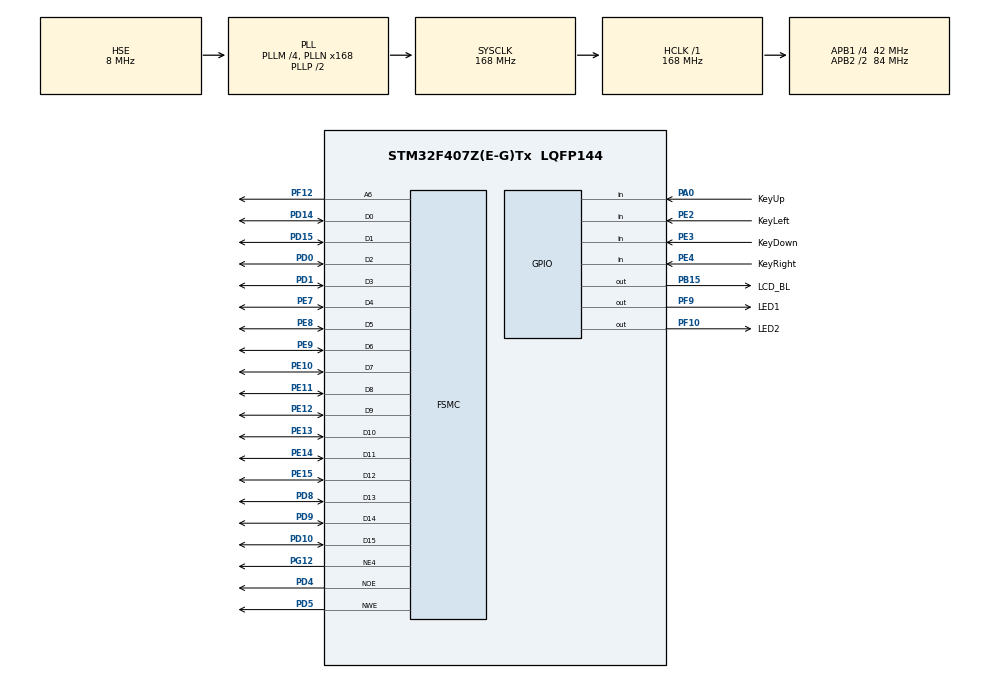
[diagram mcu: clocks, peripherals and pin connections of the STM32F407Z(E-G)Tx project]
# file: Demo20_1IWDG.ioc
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FSMC.AddressSetupTime4=2
FSMC.BusTurnAroundDuration4=0
FSMC.DataSetupTime4=16
FSMC.ExtendedAddressSetupTime4=4
FSMC.ExtendedBusTurnAroundDuration4=0
FSMC.ExtendedDataSetupTime4=9
FSMC.ExtendedMode4=FSMC_EXTENDED_MODE_ENABLE
IWDG.Prescaler=IWDG_PRESCALER_64
IWDG.Reload=4000-1
Mcu.Family=STM32F4
Mcu.Name=STM32F407Z(E-G)Tx
Mcu.Package=LQFP144
NVIC.PriorityGroup=NVIC_PRIORITYGROUP_4
NVIC.RTC_WKUP_IRQn=true\:1\:0\:true\:false\:true\:true\:true\:true
PA0-WKUP.GPIO_Label=KeyUp
PA0-WKUP.GPIO_PuPd=GPIO_PULLDOWN
PA0-WKUP.Signal=GPIO_Input
PA13.Mode=Serial_Wire
PA13.Signal=SYS_JTMS-SWDIO
PA14.Mode=Serial_Wire
PA14.Signal=SYS_JTCK-SWCLK
PB15.GPIO_Label=LCD_BL
PB15.PinState=GPIO_PIN_RESET
PB15.Signal=GPIO_Output
PC14-OSC32_IN.Mode=LSE-External-Oscillator
PC14-OSC32_IN.Signal=RCC_OSC32_IN
PC15-OSC32_OUT.Mode=LSE-External-Oscillator
PC15-OSC32_OUT.Signal=RCC_OSC32_OUT
PD0.Signal=FSMC_D2_DA2
PD1.Signal=FSMC_D3_DA3
PD10.Signal=FSMC_D15_DA15
PD14.Signal=FSMC_D0_DA0
PD15.Signal=FSMC_D1_DA1
PD4.Signal=FSMC_NOE
PD5.Signal=FSMC_NWE
PD8.Signal=FSMC_D13_DA13
PD9.Signal=FSMC_D14_DA14
PE10.Signal=FSMC_D7_DA7
PE11.Signal=FSMC_D8_DA8
PE12.Signal=FSMC_D9_DA9
PE13.Signal=FSMC_D10_DA10
PE14.Signal=FSMC_D11_DA11
PE15.Signal=FSMC_D12_DA12
PE2.GPIO_Label=KeyLeft
PE2.GPIO_PuPd=GPIO_PULLUP
PE2.Signal=GPIO_Input
PE3.GPIO_Label=KeyDown
PE3.GPIO_PuPd=GPIO_PULLUP
PE3.Signal=GPIO_Input
PE4.GPIO_Label=KeyRight
PE4.GPIO_PuPd=GPIO_PULLUP
PE4.Signal=GPIO_Input
PE7.Signal=FSMC_D4_DA4
PE8.Signal=FSMC_D5_DA5
PE9.Signal=FSMC_D6_DA6
PF10.GPIO_Label=LED2
PF10.PinState=GPIO_PIN_SET
PF10.Signal=GPIO_Output
PF12.Signal=FSMC_A6
PF9.GPIO_Label=LED1
PF9.PinState=GPIO_PIN_SET
PF9.Signal=GPIO_Output
PG12.Mode=NorPsramChipSelect4_4
PG12.Signal=FSMC_NE4
PH0-OSC_IN.Mode=HSE-External-Oscillator
PH0-OSC_IN.Signal=RCC_OSC_IN
PH1-OSC_OUT.Mode=HSE-External-Oscillator
PH1-OSC_OUT.Signal=RCC_OSC_OUT
ProjectManager.HeapSize=0x200
ProjectManager.StackSize=0x400
ProjectManager.TargetToolchain=STM32CubeIDE
RCC.48MHZClocksFreq_Value=84000000
RCC.AHBFreq_Value=168000000
RCC.APB1CLKDivider=RCC_HCLK_DIV4
RCC.APB1Freq_Value=42000000
RCC.APB1TimFreq_Value=84000000
RCC.APB2CLKDivider=RCC_HCLK_DIV2
RCC.APB2Freq_Value=84000000
RCC.APB2TimFreq_Value=168000000
RCC.CortexFreq_Value=168000000
RCC.FLatency=FLASH_LATENCY_5
RCC.HCLKFreq_Value=168000000
RCC.HSE_VALUE=8000000
RCC.HSI_VALUE=16000000
RCC.PLLM=4
RCC.PLLN=168
RCC.PLLSourceVirtual=RCC_PLLSOURCE_HSE
RCC.SYSCLKFreq_VALUE=168000000
RCC.SYSCLKSource=RCC_SYSCLKSOURCE_PLLCLK
RCC.VCOOutputFreq_Value=336000000
RTC.Format=RTC_FORMAT_BIN
RTC.WakeUpClock=RTC_WAKEUPCLOCK_CK_SPRE_16BITS
SH.FSMC_A6.0=FSMC_A6,A6_4
SH.FSMC_D0_DA0.0=FSMC_D0,16b-d4
SH.FSMC_D10_DA10.0=FSMC_D10,16b-d4
SH.FSMC_D11_DA11.0=FSMC_D11,16b-d4
SH.FSMC_D12_DA12.0=FSMC_D12,16b-d4
SH.FSMC_D13_DA13.0=FSMC_D13,16b-d4
SH.FSMC_D14_DA14.0=FSMC_D14,16b-d4
SH.FSMC_D15_DA15.0=FSMC_D15,16b-d4
SH.FSMC_D1_DA1.0=FSMC_D1,16b-d4
SH.FSMC_D2_DA2.0=FSMC_D2,16b-d4
SH.FSMC_D3_DA3.0=FSMC_D3,16b-d4
SH.FSMC_D4_DA4.0=FSMC_D4,16b-d4
SH.FSMC_D5_DA5.0=FSMC_D5,16b-d4
SH.FSMC_D6_DA6.0=FSMC_D6,16b-d4
SH.FSMC_D7_DA7.0=FSMC_D7,16b-d4
SH.FSMC_D8_DA8.0=FSMC_D8,16b-d4
SH.FSMC_D9_DA9.0=FSMC_D9,16b-d4
SH.FSMC_NOE.0=FSMC_NOE,Lcd4
SH.FSMC_NWE.0=FSMC_NWE,Lcd4
VP_IWDG_VS_IWDG.Mode=IWDG_Activate
VP_RTC_VS_RTC_Activate.Mode=RTC_Enabled
VP_RTC_VS_RTC_Calendar.Mode=RTC_Calendar
VP_RTC_VS_RTC_WakeUp_intern.Mode=WakeUp
board=custom

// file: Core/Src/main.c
/* USER CODE BEGIN Header */
/**
  ******************************************************************************
  * @file           : main.c
  * @brief          : Main program body
  ******************************************************************************
  * @attention
  *
  * Copyright (c) 2023 STMicroelectronics.
  * All rights reserved.
  *
  * This software is licensed under terms that can be found in the LICENSE file
  * in the root directory of this software component.
  * If no LICENSE file comes with this software, it is provided AS-IS.
  *
  ******************************************************************************
  */
/* USER CODE END Header */
#include "main.h"
#include "iwdg.h"
#include "rtc.h"
#include "gpio.h"
#include "fsmc.h"

/* USER CODE BEGIN Includes */
#include <stdio.h>
#include "keyled.h"
#include "lcd.h"
/* USER CODE END Includes */

/* USER CODE BEGIN PV */
uint8_t seconds_count = 0;
/* USER CODE END PV */

void SystemClock_Config(void);

int main(void)
{

  /* MCU Configuration--------------------------------------------------------*/

  /* Reset of all peripherals, Initializes the Flash interface and the Systick. */
  HAL_Init();

  /* Configure the system clock */
  SystemClock_Config();

  /* Initialize all configured peripherals */
  MX_GPIO_Init();
  MX_FSMC_Init();
  MX_IWDG_Init();
  MX_RTC_Init();
  /* USER CODE BEGIN 2 */
  lcd_init();
  lcd_show_str(10, 0 * 30 + 10, 24, "Demo20_1: Independent WatchDog", RED);
  lcd_show_str(10, 1 * 30 + 10, 24, "IWDG should be refreshed in 8s", RED);
  lcd_show_str(10, 2 * 30 + 10, 24, "Press any key to refresh IWDG", RED);
  /* USER CODE END 2 */

  /* Infinite loop */
  /* USER CODE BEGIN WHILE */
  while (1)
  {
	  KEYS curkey = ScanPressedKey(KEY_WAIT_ALWAYS);
	  switch (curkey) {
	  case KEY_UP:
	  case KEY_DOWN:
		  HAL_IWDG_Refresh(&hiwdg);
		  break;
	  case KEY_LEFT:
	  case KEY_RIGHT:
		  __HAL_IWDG_RELOAD_COUNTER(&hiwdg);
		  break;
	  }
	  seconds_count = 0;
	  lcd_show_str(10, 6 * 30 + 10, 24, "IWDG is refreshed", RED);
	  HAL_Delay(500);
    /* USER CODE END WHILE */

  }
}

void SystemClock_Config(void)
{
  RCC_OscInitTypeDef RCC_OscInitStruct = {0};
  RCC_ClkInitTypeDef RCC_ClkInitStruct = {0};

  /** Configure the main internal regulator output voltage
  */
  __HAL_RCC_PWR_CLK_ENABLE();
  __HAL_PWR_VOLTAGESCALING_CONFIG(PWR_REGULATOR_VOLTAGE_SCALE1);

  /** Initializes the RCC Oscillators according to the specified parameters
  * in the RCC_OscInitTypeDef structure.
  */
  RCC_OscInitStruct.OscillatorType = RCC_OSCILLATORTYPE_LSI|RCC_OSCILLATORTYPE_HSE;
  RCC_OscInitStruct.HSEState = RCC_HSE_ON;
  RCC_OscInitStruct.LSIState = RCC_LSI_ON;
  RCC_OscInitStruct.PLL.PLLState = RCC_PLL_ON;
  RCC_OscInitStruct.PLL.PLLSource = RCC_PLLSOURCE_HSE;
  RCC_OscInitStruct.PLL.PLLM = 4;
  RCC_OscInitStruct.PLL.PLLN = 168;
  RCC_OscInitStruct.PLL.PLLP = RCC_PLLP_DIV2;
  RCC_OscInitStruct.PLL.PLLQ = 4;
  if (HAL_RCC_OscConfig(&RCC_OscInitStruct) != HAL_OK)
  {
    Error_Handler();
  }

  /** Initializes the CPU, AHB and APB buses clocks
  */
  RCC_ClkInitStruct.ClockType = RCC_CLOCKTYPE_HCLK|RCC_CLOCKTYPE_SYSCLK
                              |RCC_CLOCKTYPE_PCLK1|RCC_CLOCKTYPE_PCLK2;
  RCC_ClkInitStruct.SYSCLKSource = RCC_SYSCLKSOURCE_PLLCLK;
  RCC_ClkInitStruct.AHBCLKDivider = RCC_SYSCLK_DIV1;
  RCC_ClkInitStruct.APB1CLKDivider = RCC_HCLK_DIV4;
  RCC_ClkInitStruct.APB2CLKDivider = RCC_HCLK_DIV2;

  if (HAL_RCC_ClockConfig(&RCC_ClkInitStruct, FLASH_LATENCY_5) != HAL_OK)
  {
    Error_Handler();
  }
}

/* USER CODE BEGIN 4 */
void HAL_RTCEx_WakeUpTimerEventCallback(RTC_HandleTypeDef *hrtc) {
	seconds_count++;

	uint8_t tempStr[30];
	sprintf(tempStr, "Seconds after last refresh: %d", seconds_count);
	lcd_show_str(10, 4 * 30 + 10, 24, tempStr, RED);
}
/* USER CODE END 4 */

void Error_Handler(void)
{
  __disable_irq();
  while (1)
  {
  }
}
